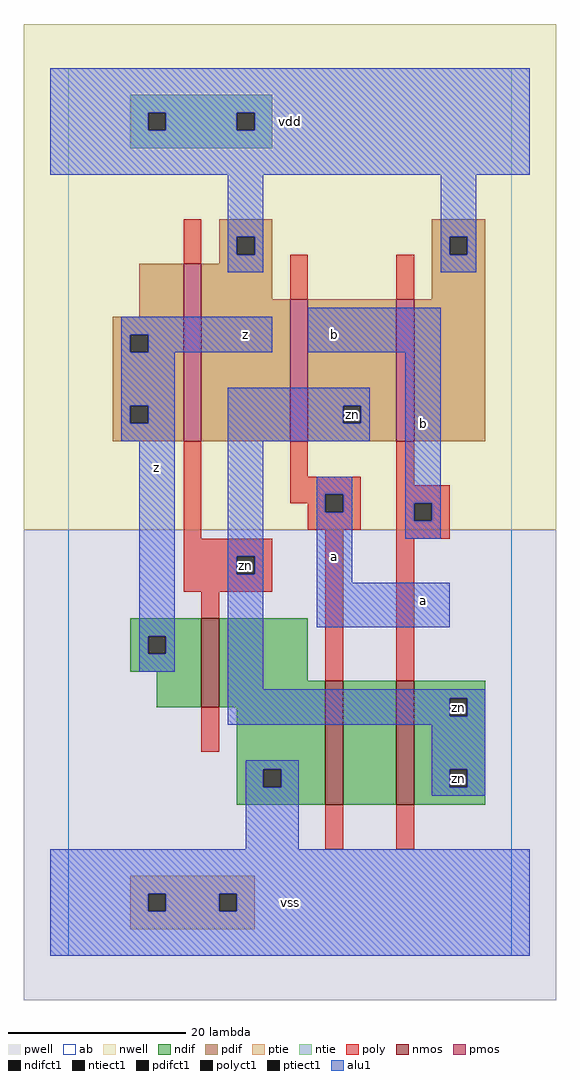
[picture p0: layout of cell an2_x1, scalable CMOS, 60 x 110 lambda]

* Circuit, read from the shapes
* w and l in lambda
.subckt an2_x1 a b vdd vss z zn
M1 vss zn z vss nfet w=10 l=2
M2 n1 a vss vss nfet w=14 l=2
M3 zn b n1 vss nfet w=14 l=2
M4 vdd zn z vdd pfet w=20 l=2
M5 zn a vdd vdd pfet w=16 l=2
M6 vdd b zn vdd pfet w=16 l=2
.ends

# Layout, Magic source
magic
tech scmos
<< ab >>
rect 0 0 50 100
<< nwell >>
rect -5 48 55 105
<< pwell >>
rect -5 -5 55 48
<< poly >>
rect 13 78 15 83
rect 25 74 27 79
rect 37 74 39 79
rect 13 47 15 58
rect 25 54 27 58
rect 25 52 33 54
rect 25 51 29 52
rect 27 50 29 51
rect 31 50 33 52
rect 27 48 33 50
rect 37 53 39 58
rect 37 51 43 53
rect 37 49 39 51
rect 41 49 43 51
rect 13 45 23 47
rect 13 43 19 45
rect 21 43 23 45
rect 13 41 23 43
rect 15 38 17 41
rect 29 31 31 48
rect 37 47 43 49
rect 37 31 39 47
rect 15 23 17 28
rect 29 12 31 17
rect 37 12 39 17
<< ndif >>
rect 7 36 15 38
rect 7 34 9 36
rect 11 34 15 36
rect 7 32 15 34
rect 10 28 15 32
rect 17 31 27 38
rect 17 28 29 31
rect 19 21 29 28
rect 19 19 22 21
rect 24 19 29 21
rect 19 17 29 19
rect 31 17 37 31
rect 39 29 47 31
rect 39 27 43 29
rect 45 27 47 29
rect 39 21 47 27
rect 39 19 43 21
rect 45 19 47 21
rect 39 17 47 19
<< pdif >>
rect 17 81 23 83
rect 17 79 19 81
rect 21 79 23 81
rect 41 81 47 83
rect 41 79 43 81
rect 45 79 47 81
rect 17 78 23 79
rect 8 72 13 78
rect 5 70 13 72
rect 5 68 7 70
rect 9 68 13 70
rect 5 62 13 68
rect 5 60 7 62
rect 9 60 13 62
rect 5 58 13 60
rect 15 74 23 78
rect 41 74 47 79
rect 15 58 25 74
rect 27 62 37 74
rect 27 60 31 62
rect 33 60 37 62
rect 27 58 37 60
rect 39 58 47 74
<< alu1 >>
rect -2 95 52 100
rect -2 93 9 95
rect 11 93 19 95
rect 21 93 52 95
rect -2 88 52 93
rect 18 81 22 88
rect 18 79 19 81
rect 21 79 22 81
rect 18 77 22 79
rect 42 81 46 88
rect 42 79 43 81
rect 45 79 46 81
rect 42 77 46 79
rect 6 70 23 72
rect 6 68 7 70
rect 9 68 23 70
rect 27 68 42 73
rect 6 62 12 68
rect 6 60 7 62
rect 9 60 12 62
rect 6 58 12 60
rect 8 36 12 58
rect 8 34 9 36
rect 11 34 12 36
rect 8 32 12 34
rect 18 62 34 64
rect 18 60 31 62
rect 33 60 34 62
rect 18 58 34 60
rect 18 45 22 58
rect 18 43 19 45
rect 21 43 22 45
rect 18 30 22 43
rect 28 52 32 54
rect 28 50 29 52
rect 31 50 32 52
rect 28 42 32 50
rect 38 51 42 68
rect 38 49 39 51
rect 41 49 42 51
rect 38 47 42 49
rect 28 37 43 42
rect 18 29 47 30
rect 18 27 43 29
rect 45 27 47 29
rect 18 26 47 27
rect 20 21 26 22
rect 20 19 22 21
rect 24 19 26 21
rect 20 12 26 19
rect 41 21 47 26
rect 41 19 43 21
rect 45 19 47 21
rect 41 18 47 19
rect -2 7 52 12
rect -2 5 9 7
rect 11 5 17 7
rect 19 5 52 7
rect -2 0 52 5
<< ptie >>
rect 7 7 21 9
rect 7 5 9 7
rect 11 5 17 7
rect 19 5 21 7
rect 7 3 21 5
<< ntie >>
rect 7 95 23 97
rect 7 93 9 95
rect 11 93 19 95
rect 21 93 23 95
rect 7 91 23 93
<< nmos >>
rect 15 28 17 38
rect 29 17 31 31
rect 37 17 39 31
<< pmos >>
rect 13 58 15 78
rect 25 58 27 74
rect 37 58 39 74
<< polyct1 >>
rect 29 50 31 52
rect 39 49 41 51
rect 19 43 21 45
<< ndifct1 >>
rect 9 34 11 36
rect 22 19 24 21
rect 43 27 45 29
rect 43 19 45 21
<< ntiect1 >>
rect 9 93 11 95
rect 19 93 21 95
<< ptiect1 >>
rect 9 5 11 7
rect 17 5 19 7
<< pdifct1 >>
rect 19 79 21 81
rect 43 79 45 81
rect 7 68 9 70
rect 7 60 9 62
rect 31 60 33 62
<< labels >>
rlabel polyct1 20 44 20 44 6 zn
rlabel ndifct1 44 20 44 20 6 zn
rlabel ndifct1 44 28 44 28 6 zn
rlabel pdifct1 32 61 32 61 6 zn
rlabel alu1 10 55 10 55 6 z
rlabel alu1 20 70 20 70 6 z
rlabel alu1 25 6 25 6 6 vss
rlabel alu1 30 45 30 45 6 a
rlabel alu1 30 70 30 70 6 b
rlabel alu1 25 94 25 94 6 vdd
rlabel alu1 40 40 40 40 6 a
rlabel alu1 40 60 40 60 6 b
<< end >>
